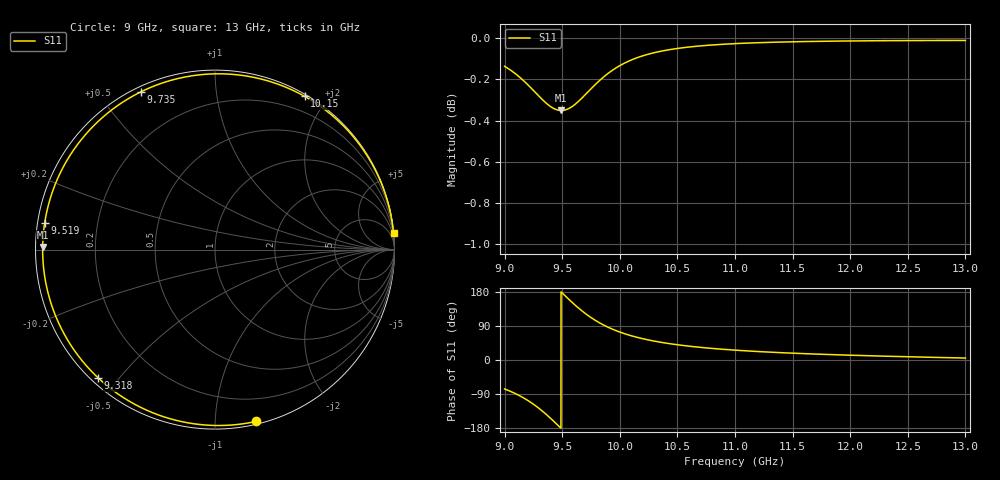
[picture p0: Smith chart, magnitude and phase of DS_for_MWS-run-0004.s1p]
! TOUCHSTONE file generated by CST DESIGN STUDIO
! Date and time: Tue Feb  4 13:37:43 2025
! Project name: C:\Work\MatlabApps\UnitCellOptimizationMatlab\CST\unitcell.cst
! Tree item: Tasks\Sweep1\SPara1\S-Parameters
! Header version: 2024
! Port assignment regex: !\s*Touchstone port\s*([0-9]+)\s*=\s*(CST MWS port|CST DES external port|CST DES block port)\s*(.+)\s* \(\"(.*)\"\)(\s*mode\s*([0-9]+))?.*
! Touchstone port assignment:
! Touchstone port 1 = CST DES external port 1 ("")
# GHz S MA R 50
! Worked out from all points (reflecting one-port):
!   4001 points, 9 GHz to 13 GHz, reference 50 ohm
!   lowest |S11| = -0.4 dB at 9.492 GHz (marker M1), VSWR 49.47, Z = 1.01 + j0.364 ohm
!   phase of S11 starts at -76 deg and turns -278 deg over the sweep
!   S11 on the Smith chart (normalised r, x): 9 GHz: 0.02, -1.27; 9.318 GHz: 0.02, -0.44; 9.519 GHz: 0.02, +0.08; 9.735 GHz: 0.02, +0.64; 10.15 GHz: 0.02, +1.74; 13 GHz: 0, +22
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9  0.9844 -76.4
9.082  0.9809 -87.0
9.182  0.9755 -103.1
9.253  0.971 -117.3
9.318  0.9668 -132.4
9.364  0.9642 -144.2
9.413  0.9619 -157.8
9.453  0.9608 -169.3
9.492  0.9604 179.2
9.5  0.9604 176.8
9.519  0.9606 171.2
9.572  0.9619 155.9
9.631  0.9647 139.8
9.682  0.9677 127.0
9.735  0.9711 115.1
9.789  0.9745 104.3
9.848  0.9779 94.1
9.923  0.9817 83.1
10  0.9848 73.7
10.151  0.9892 59.7
10.309  0.9921 49.3
10.5  0.9943 40.2
10.722  0.9958 32.7
11  0.997 26.0
11.5  0.998 18.0
12  0.9985 12.6
12.5  0.9987 8.6
13  0.9988 5.2
